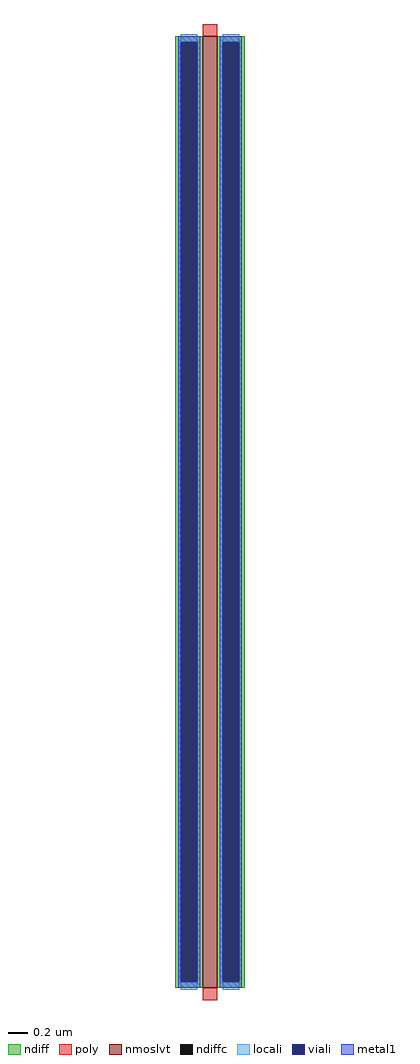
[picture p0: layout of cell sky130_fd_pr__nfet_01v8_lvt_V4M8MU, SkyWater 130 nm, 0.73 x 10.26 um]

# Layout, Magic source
magic
tech sky130A
magscale 1 2
<< nmoslvt >>
rect -15 -1000 15 1000
<< ndiff >>
rect -73 988 -15 1000
rect -73 -988 -61 988
rect -27 -988 -15 988
rect -73 -1000 -15 -988
rect 15 988 73 1000
rect 15 -988 27 988
rect 61 -988 73 988
rect 15 -1000 73 -988
<< ndiffc >>
rect -61 -988 -27 988
rect 27 -988 61 988
<< poly >>
rect -15 1000 15 1026
rect -15 -1026 15 -1000
<< locali >>
rect -61 988 -27 1004
rect -61 -1004 -27 -988
rect 27 988 61 1004
rect 27 -1004 61 -988
<< viali >>
rect -61 -988 -27 988
rect 27 -988 61 988
<< metal1 >>
rect -67 988 -21 1000
rect -67 -988 -61 988
rect -27 -988 -21 988
rect -67 -1000 -21 -988
rect 21 988 67 1000
rect 21 -988 27 988
rect 61 -988 67 988
rect 21 -1000 67 -988
<< properties >>
string gencell sky130_fd_pr__nfet_01v8_lvt
string library sky130
string parameters w 10 l 0.150 m 1 nf 1 diffcov 100 polycov 100 guard 0 glc 0 grc 0 gtc 0 gbc 0 tbcov 100 rlcov 100 topc 0 botc 0 poverlap 0 doverlap 0 lmin 0.15 wmin 0.42 compatible {sky130_fd_pr__nfet_01v8 sky130_fd_pr__nfet_01v8_lvt  sky130_fd_bs_flash__special_sonosfet_star  sky130_fd_pr__nfet_g5v0d10v5 sky130_fd_pr__nfet_05v0_nvt  sky130_fd_pr__nfet_03v3_nvt} full_metal 0 viasrc 100 viadrn 100 viagate 100 viagb 0 viagr 0 viagl 0 viagt 0
<< end >>
